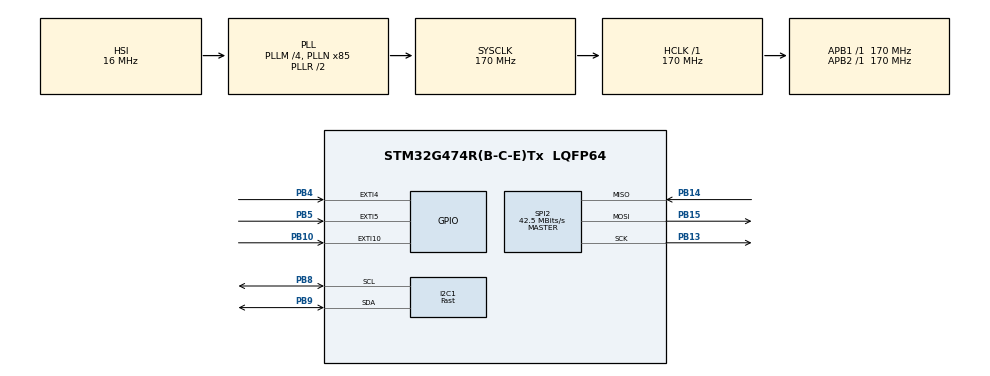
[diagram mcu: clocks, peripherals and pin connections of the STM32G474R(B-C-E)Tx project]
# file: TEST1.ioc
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I2C1.I2C_Fall_Time=50
I2C1.I2C_Rise_Time=50
I2C1.I2C_Speed_Mode=I2C_Fast
I2C1.Timing=0x20801E61
Mcu.Family=STM32G4
Mcu.Name=STM32G474R(B-C-E)Tx
Mcu.Package=LQFP64
NUCLEO-G474RE.BUTTON=1
NUCLEO-G474RE.LD2=true
NUCLEO-G474RE.VCP=true
NVIC.EXTI15_10_IRQn=true\:0\:0\:false\:false\:true\:false\:true\:true
NVIC.EXTI4_IRQn=true\:0\:0\:false\:false\:true\:true\:true\:true
NVIC.EXTI9_5_IRQn=true\:0\:0\:false\:false\:true\:true\:true\:true
NVIC.PriorityGroup=NVIC_PRIORITYGROUP_4
PA13.GPIO_Label=T_SWDIO
PA13.Signal=SYS_JTMS-SWDIO
PA14.GPIO_Label=T_SWCLK
PA14.Signal=SYS_JTCK-SWCLK
PA2.Signal=LPUART1_TX
PA3.Signal=LPUART1_RX
PB10.Signal=GPXTI10
PB13.Mode=Full_Duplex_Master
PB13.Signal=SPI2_SCK
PB14.Mode=Full_Duplex_Master
PB14.Signal=SPI2_MISO
PB15.Mode=Full_Duplex_Master
PB15.Signal=SPI2_MOSI
PB3.GPIO_Label=T_SWO
PB3.Signal=SYS_JTDO-SWO
PB4.Signal=GPXTI4
PB5.Signal=GPXTI5
PB8-BOOT0.GPIO_Pu=GPIO_PULLUP
PB8-BOOT0.Mode=I2C
PB8-BOOT0.Signal=I2C1_SCL
PB9.GPIO_Pu=GPIO_PULLUP
PB9.Mode=I2C
PB9.Signal=I2C1_SDA
PC14-OSC32_IN.GPIO_Label=RCC_OSC32_IN
PC14-OSC32_IN.Signal=RCC_OSC32_IN
PC15-OSC32_OUT.GPIO_Label=RCC_OSC32_OUT
PC15-OSC32_OUT.Signal=RCC_OSC32_OUT
PF0-OSC_IN.GPIO_Label=RCC_OSC_IN
PF0-OSC_IN.Signal=RCC_OSC_IN
PF1-OSC_OUT.GPIO_Label=RCC_OSC_OUT
PF1-OSC_OUT.Signal=RCC_OSC_OUT
ProjectManager.HeapSize=0x200
ProjectManager.StackSize=0x400
ProjectManager.TargetToolchain=CMake
RCC.ADC12Freq_Value=170000000
RCC.ADC345Freq_Value=170000000
RCC.AHBFreq_Value=170000000
RCC.APB1Freq_Value=170000000
RCC.APB1TimFreq_Value=170000000
RCC.APB2Freq_Value=170000000
RCC.APB2TimFreq_Value=170000000
RCC.CortexFreq_Value=170000000
RCC.EXTERNAL_CLOCK_VALUE=12288000
RCC.HCLKFreq_Value=170000000
RCC.HSE_VALUE=24000000
RCC.HSI48_VALUE=48000000
RCC.HSI_VALUE=16000000
RCC.LSE_VALUE=32768
RCC.PLLM=RCC_PLLM_DIV4
RCC.PLLN=85
RCC.RTCClockSelection=RCC_RTCCLKSOURCE_LSE
RCC.SYSCLKFreq_VALUE=170000000
RCC.SYSCLKSource=RCC_SYSCLKSOURCE_PLLCLK
RCC.USBFreq_Value=170000000
RCC.VCOOutputFreq_Value=340000000
SPI2.BaudRatePrescaler=SPI_BAUDRATEPRESCALER_4
SPI2.CalculateBaudRate=42.5 MBits/s
SPI2.Direction=SPI_DIRECTION_2LINES
SPI2.Mode=SPI_MODE_MASTER
SPI2.VirtualType=VM_MASTER
VP_NUCLEO-G474RE_VS_BSP_COMMON.Mode=COMMON
VP_SYS_VS_DBSignals.Mode=DisableDeadBatterySignals
board=NUCLEO-G474RE

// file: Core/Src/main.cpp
/* USER CODE BEGIN Header */
/**
  ******************************************************************************
  * @file           : main.c
  * @brief          : Main program body
  ******************************************************************************
  * @attention
  *
  * Copyright (c) 2026 STMicroelectronics.
  * All rights reserved.
  *
  * This software is licensed under terms that can be found in the LICENSE file
  * in the root directory of this software component.
  * If no LICENSE file comes with this software, it is provided AS-IS.
  *
  ******************************************************************************
  */

/* USER CODE END Header */
#include "main.h"

/* USER CODE BEGIN Includes */
//#include "test.hpp"

#include "SSD1306.hpp"

#define EB_USE_CONSTRUCTOR
#include "libbenc.hpp"

#include "stm32g474xx.h"
#include "stm32g4xx_hal.h"
/* USER CODE END Includes */

/* USER CODE BEGIN PTD */
// template<typename T> T max (T x, T y){return x >  y ? x : y;}
// template<typename T> T min (T x, T y){return x <= y ? x : y;}
/* USER CODE END PTD */

COM_InitTypeDef BspCOMInit;
I2C_HandleTypeDef hi2c1;

SPI_HandleTypeDef hspi2;

/* USER CODE BEGIN PV */
extern UART_HandleTypeDef hcom_uart[];
/* USER CODE END PV */

void SystemClock_Config(void);
static void MX_GPIO_Init(void);
static void MX_I2C1_Init(void);
static void MX_SPI2_Init(void);
/* USER CODE BEGIN PFP */

SSD_OLED<I2C_HandleTypeDef, SSD1306_128x32, OLED_BUFFER> oled(&hi2c1, 0x3C);

/* USER CODE END PFP */

/* USER CODE BEGIN 0 */

uint32_t fps(){
  static uint32_t lastTime = 0;
  static uint32_t frames = 0;
  static uint32_t _fps = 0;
  frames++;
  uint32_t now = HAL_GetTick();
  if (now - lastTime >= 1000) {
      _fps = frames;
      frames = 0;
      lastTime = now;
  }
  return _fps;
}

EncButtonT<// using template
    Pin{GPIOB_BASE, GPIO_PIN_4},
    Pin{GPIOB_BASE, GPIO_PIN_5},
    Pin{GPIOB_BASE, GPIO_PIN_10},
    PinMode{GPIO_PULLUP, GPIO_MODE_IT_RISING_FALLING},
    PinMode{GPIO_PULLDOWN, GPIO_MODE_IT_RISING_FALLING}
> enc;
//EncButton enc; // using constructor

/* USER CODE END 0 */

int main(void){

  /* MCU Configuration--------------------------------------------------------*/

  /* Reset of all peripherals, Initializes the Flash interface and the Systick. */
  HAL_Init();

  /* Configure the system clock */
  SystemClock_Config();

  /* Initialize all configured peripherals */
  MX_GPIO_Init();
  MX_I2C1_Init();
  MX_SPI2_Init();
  /* USER CODE BEGIN 2 */
  enc.init();
  // enc.init({GPIOB, GPIO_PIN_4},
  //          {GPIOB, GPIO_PIN_5},
  //          {GPIOB, GPIO_PIN_10},
  //          {GPIO_PULLUP, GPIO_MODE_IT_RISING_FALLING},
  //          {GPIO_PULLDOWN, GPIO_MODE_IT_RISING_FALLING});

  /* USER CODE END 2 */

  /* Initialize led */
  BSP_LED_Init(LED_GREEN);

  /* Initialize USER push-button, will be used to trigger an interrupt each time it's pressed.*/
  BSP_PB_Init(BUTTON_USER, BUTTON_MODE_EXTI);

  /* Initialize COM1 port (115200, 8 bits (7-bit data + 1 stop bit), no parity */
  BspCOMInit.BaudRate   = 115200;
  BspCOMInit.WordLength = COM_WORDLENGTH_8B;
  BspCOMInit.StopBits   = COM_STOPBITS_1;
  BspCOMInit.Parity     = COM_PARITY_NONE;
  BspCOMInit.HwFlowCtl  = COM_HWCONTROL_NONE;
  if (BSP_COM_Init(COM1, &BspCOMInit) != BSP_ERROR_NONE){ Error_Handler(); }

  /* Infinite loop */
  /* USER CODE BEGIN WHILE */
  oled.init();
  oled.clear();
  oled.setScale(1);
  oled.autoPrintln(true);

  int i = 0;

  enc.setEncISR(true);
  while (1){
    enc.tick();
    oled.clear();
    oled.home();
    //if(enc.holding() || enc.press()){i++;}
    if(enc.left()){i += enc.fstep(i); }else if(enc.right()){ i-= enc.fstep(i);}
    oled.printf("i=%d",i);
    if(enc.turn()){oled.printf("%s%d",enc.dir() == 1 ? "-":"+",enc.fstep());}
    if(enc.Hold() && enc.dir() > 0){i--;}else if(enc.Hold()){i++;}
    oled.setCursor(0, 8);
    oled.printf("FPS=%d",fps());
    oled.update();

    // oled.setCursor(0, 8);
    // oled.print("x=");oled.print(x);

    /* USER CODE END WHILE */

  }
}

void SystemClock_Config(void)
{
  RCC_OscInitTypeDef RCC_OscInitStruct = {0};
  RCC_ClkInitTypeDef RCC_ClkInitStruct = {0};

  /** Configure the main internal regulator output voltage
  */
  HAL_PWREx_ControlVoltageScaling(PWR_REGULATOR_VOLTAGE_SCALE1_BOOST);

  /** Initializes the RCC Oscillators according to the specified parameters
  * in the RCC_OscInitTypeDef structure.
  */
  RCC_OscInitStruct.OscillatorType = RCC_OSCILLATORTYPE_HSI;
  RCC_OscInitStruct.HSIState = RCC_HSI_ON;
  RCC_OscInitStruct.HSICalibrationValue = RCC_HSICALIBRATION_DEFAULT;
  RCC_OscInitStruct.PLL.PLLState = RCC_PLL_ON;
  RCC_OscInitStruct.PLL.PLLSource = RCC_PLLSOURCE_HSI;
  RCC_OscInitStruct.PLL.PLLM = RCC_PLLM_DIV4;
  RCC_OscInitStruct.PLL.PLLN = 85;
  RCC_OscInitStruct.PLL.PLLP = RCC_PLLP_DIV2;
  RCC_OscInitStruct.PLL.PLLQ = RCC_PLLQ_DIV2;
  RCC_OscInitStruct.PLL.PLLR = RCC_PLLR_DIV2;
  if (HAL_RCC_OscConfig(&RCC_OscInitStruct) != HAL_OK)
  {
    Error_Handler();
  }

  /** Initializes the CPU, AHB and APB buses clocks
  */
  RCC_ClkInitStruct.ClockType = RCC_CLOCKTYPE_HCLK|RCC_CLOCKTYPE_SYSCLK
                              |RCC_CLOCKTYPE_PCLK1|RCC_CLOCKTYPE_PCLK2;
  RCC_ClkInitStruct.SYSCLKSource = RCC_SYSCLKSOURCE_PLLCLK;
  RCC_ClkInitStruct.AHBCLKDivider = RCC_SYSCLK_DIV1;
  RCC_ClkInitStruct.APB1CLKDivider = RCC_HCLK_DIV1;
  RCC_ClkInitStruct.APB2CLKDivider = RCC_HCLK_DIV1;

  if (HAL_RCC_ClockConfig(&RCC_ClkInitStruct, FLASH_LATENCY_4) != HAL_OK)
  {
    Error_Handler();
  }
}

static void MX_I2C1_Init(void)
{

  hi2c1.Instance = I2C1;
  hi2c1.Init.Timing = 0x20801E61;
  hi2c1.Init.OwnAddress1 = 0;
  hi2c1.Init.AddressingMode = I2C_ADDRESSINGMODE_7BIT;
  hi2c1.Init.DualAddressMode = I2C_DUALADDRESS_DISABLE;
  hi2c1.Init.OwnAddress2 = 0;
  hi2c1.Init.OwnAddress2Masks = I2C_OA2_NOMASK;
  hi2c1.Init.GeneralCallMode = I2C_GENERALCALL_DISABLE;
  hi2c1.Init.NoStretchMode = I2C_NOSTRETCH_DISABLE;
  if (HAL_I2C_Init(&hi2c1) != HAL_OK)
  {
    Error_Handler();
  }

  /** Configure Analogue filter
  */
  if (HAL_I2CEx_ConfigAnalogFilter(&hi2c1, I2C_ANALOGFILTER_ENABLE) != HAL_OK)
  {
    Error_Handler();
  }

  /** Configure Digital filter
  */
  if (HAL_I2CEx_ConfigDigitalFilter(&hi2c1, 0) != HAL_OK)
  {
    Error_Handler();
  }

}

static void MX_SPI2_Init(void)
{

  /* SPI2 parameter configuration*/
  hspi2.Instance = SPI2;
  hspi2.Init.Mode = SPI_MODE_MASTER;
  hspi2.Init.Direction = SPI_DIRECTION_2LINES;
  hspi2.Init.DataSize = SPI_DATASIZE_4BIT;
  hspi2.Init.CLKPolarity = SPI_POLARITY_LOW;
  hspi2.Init.CLKPhase = SPI_PHASE_1EDGE;
  hspi2.Init.NSS = SPI_NSS_SOFT;
  hspi2.Init.BaudRatePrescaler = SPI_BAUDRATEPRESCALER_4;
  hspi2.Init.FirstBit = SPI_FIRSTBIT_MSB;
  hspi2.Init.TIMode = SPI_TIMODE_DISABLE;
  hspi2.Init.CRCCalculation = SPI_CRCCALCULATION_DISABLE;
  hspi2.Init.CRCPolynomial = 7;
  hspi2.Init.CRCLength = SPI_CRC_LENGTH_DATASIZE;
  hspi2.Init.NSSPMode = SPI_NSS_PULSE_ENABLE;
  if (HAL_SPI_Init(&hspi2) != HAL_OK)
  {
    Error_Handler();
  }

}

static void MX_GPIO_Init(void)
{
  GPIO_InitTypeDef GPIO_InitStruct = {0};

  /* GPIO Ports Clock Enable */
  __HAL_RCC_GPIOC_CLK_ENABLE();
  __HAL_RCC_GPIOF_CLK_ENABLE();
  __HAL_RCC_GPIOB_CLK_ENABLE();
  __HAL_RCC_GPIOA_CLK_ENABLE();

  /*Configure GPIO pins : PB10 PB4 PB5 */
  GPIO_InitStruct.Pin = GPIO_PIN_10|GPIO_PIN_4|GPIO_PIN_5;
  GPIO_InitStruct.Mode = GPIO_MODE_IT_RISING;
  GPIO_InitStruct.Pull = GPIO_NOPULL;
  HAL_GPIO_Init(GPIOB, &GPIO_InitStruct);

  /* EXTI interrupt init*/
  HAL_NVIC_SetPriority(EXTI4_IRQn, 0, 0);
  HAL_NVIC_EnableIRQ(EXTI4_IRQn);

  HAL_NVIC_SetPriority(EXTI9_5_IRQn, 0, 0);
  HAL_NVIC_EnableIRQ(EXTI9_5_IRQn);

  HAL_NVIC_SetPriority(EXTI15_10_IRQn, 0, 0);
  HAL_NVIC_EnableIRQ(EXTI15_10_IRQn);

}

/* USER CODE BEGIN 4 */
void HAL_GPIO_EXTI_Callback(uint16_t GPIO_Pin)
{
    if(GPIO_Pin == GPIO_PIN_4 || GPIO_Pin == GPIO_PIN_5 || GPIO_Pin == GPIO_PIN_10)
    {
        printf("ISR");
        enc.tickISR();
    }
}
/* USER CODE END 4 */

void Error_Handler(void)
{
  __disable_irq();
  while (1)
  {
  }
}
